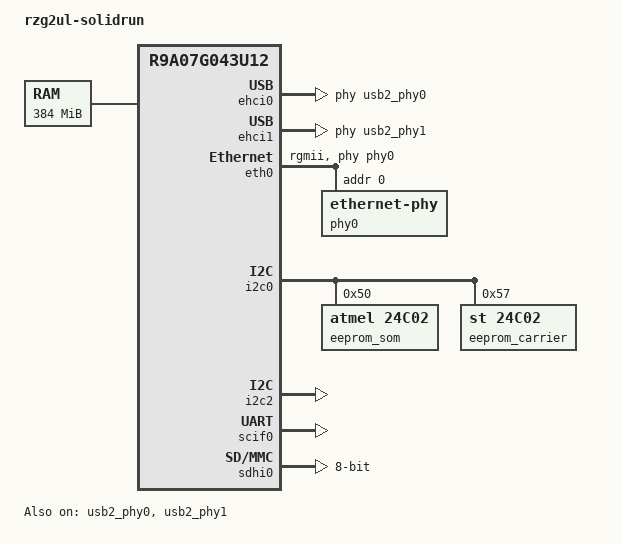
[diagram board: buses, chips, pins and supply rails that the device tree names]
// SPDX-License-Identifier: GPL-2.0
/*
 * Device Tree Source for the GR-Peach board
 *
 * Copyright (C) 2017 Jacopo Mondi <jacopo+renesas@jmondi.org>
 * Copyright (C) 2016 Renesas Electronics
 */

/dts-v1/;
#include <dt-bindings/gpio/gpio.h>
#include "r9a07g043u12.dtsi"
#include "r9a07g043u12-u-boot.dtsi"
#include <dt-bindings/pinctrl/rzg2l-pinctrl.h>

/ {
	model = "rzg2ul-solidrun";
	compatible = "solidrun,hummingboard", "solidrun,rzg2ul-som";

	aliases {
		serial0 = &scif0;
		eeprom_som = &eeprom_som;
		eeprom_carrier = &eeprom_carrier;
	};

	chosen {
		stdout-path = "serial0:115200n8";
	};

	memory@48000000 {
		device_type = "memory";
		/* first 128MB is reserved for secure area. */
		reg = <0 0x48000000 0 0x18000000>;
	};
};

&ehci0 {
	status = "okay";
	phys = <&usb2_phy0>;
};

&ehci1 {
	status = "okay";
	phys = <&usb2_phy1>;
};

&eth0 {
	pinctrl-names = "default";
	pinctrl-0 = <&eth0_pins>;
	phy-handle = <&phy0>;
	phy-mode = "rgmii";
	status = "okay";

	phy0: ethernet-phy@0 {
		reg = <0>;
	};
};

&i2c0 {
	pinctrl-names = "default";
	status = "okay";

	eeprom_som: m24c02@50 {
		compatible = "atmel,24c02";
		reg = <0x50>;
	};

	eeprom_carrier: eeprom@57 {
		compatible = "st,24c02", "atmel,24c02";
		reg = <0x57>;
		pagesize = <8>;
	};

};

&i2c2 {
	pinctrl-names = "default";
	status = "okay";
};

&pinctrl {
	pinctrl-names = "default";
	pinctrl-0 = <&pinctrl_hog>;

	pinctrl_hog: hoggrp {
		pinmux = <RZG2L_PINMUX(2, 1, 0)>; /* SD0_DEV_SEL_SW */
		//P0_1 (P18_1 in G2LC A3) GPIO_SD0_PWR_EN//
	};

	eth0_pins: eth0 {
		pinmux = <RZG2L_PINMUX(1, 0, 1)>,
			<RZG2L_PINMUX(1, 1, 1)>,
			<RZG2L_PINMUX(1, 2, 1)>,
			<RZG2L_PINMUX(1, 3, 1)>,
			<RZG2L_PINMUX(1, 4, 1)>,
			<RZG2L_PINMUX(2, 0, 1)>,
			<RZG2L_PINMUX(3, 0, 1)>,
			<RZG2L_PINMUX(3, 1, 1)>,
			<RZG2L_PINMUX(3, 2, 1)>,
			<RZG2L_PINMUX(3, 3, 1)>,
			<RZG2L_PINMUX(4, 0, 1)>,
			<RZG2L_PINMUX(4, 1, 1)>,
			<RZG2L_PINMUX(4, 3, 1)>,
			<RZG2L_PINMUX(4, 4, 1)>,
			<RZG2L_PINMUX(4, 5, 1)>;
	};
	/*
	Soc RZ/G2UL(Type2) -> Px_x // Function Name (1)
		M2	P1_0	ET0_TXC/TX_CLK
		L1	P1_1	ET0_TX_CTL/TX_EN
		L2	P1_2	ET0_TXD0
		K1	P1_3	ET0_TXD1
		J1	P1_4	ET0_TXD2
		J2	P2_0	ET0_TXD3
		P2	P3_0	ET0_RXC/RX_CLK
		N2	P3_1	ET0_RX_CTL/RX_DV
		N3	P3_2	ET0_RXD0
		P3	P3_3	ET0_RXD1
		R1	P4_0	ET0_RXD2
		P1	P4_1	ET0_RXD3
		T1	P4_3	ET0_MDC
		R2	P4_4	ET0_MDIO
		N1	P4_5	ET0_LINKSTA
	*/
};

&scif0 {
	status = "okay";
	clock = <100000000>;
};

&sdhi0 {
	/* pinctrl placeholder
	 * If this channel is used for interfacing with a SD card, a power enable
	 * pin (SD0_PWR_EN) must be defined.
	 * The SD0_PWR_EN pin is associated with P4_1.
	 * A HIGH signal on SD0_PWR_EN will enable supply voltage for SD card.
	*/
	bus-width = <8>;
	mutual-channel;
	status = "okay";
};

&sdhi1 {
	status = "disabled";
};

&usb2_phy0 {
	status = "okay";
};

&usb2_phy1 {
	status = "okay";
};

&xinclk {
	clock-frequency = <24000000>;
};
